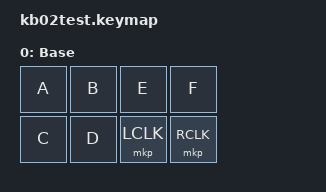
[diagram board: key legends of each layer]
/*
 * kb02test keymap — split 検証（左 2×2 ＋ 右 2×2）
 *   左: (0,0)=A (0,1)=B / (1,0)=C (1,1)=D
 *   右: (0,2)=E (0,3)=F / (1,2)=左クリック (1,3)=右クリック
 */
#include <behaviors.dtsi>
#include <dt-bindings/zmk/keys.h>
#include <dt-bindings/zmk/bt.h>

#define HAS_MOUSE_TP
#include "include/mouse_tp.dtsi"

#ifdef HAS_MOUSE_TP
  #define U_LCLK &mkp LCLK
  #define U_RCLK &mkp RCLK
#else
  #define U_LCLK &kp G
  #define U_RCLK &kp H
#endif

/ {
    keymap {
        compatible = "zmk,keymap";

        base {
            display-name = "Base";
            bindings = <
                &kp A   &kp B      &kp E   &kp F
                &kp C   &kp D      U_LCLK  U_RCLK
            >;
        };
    };
};
